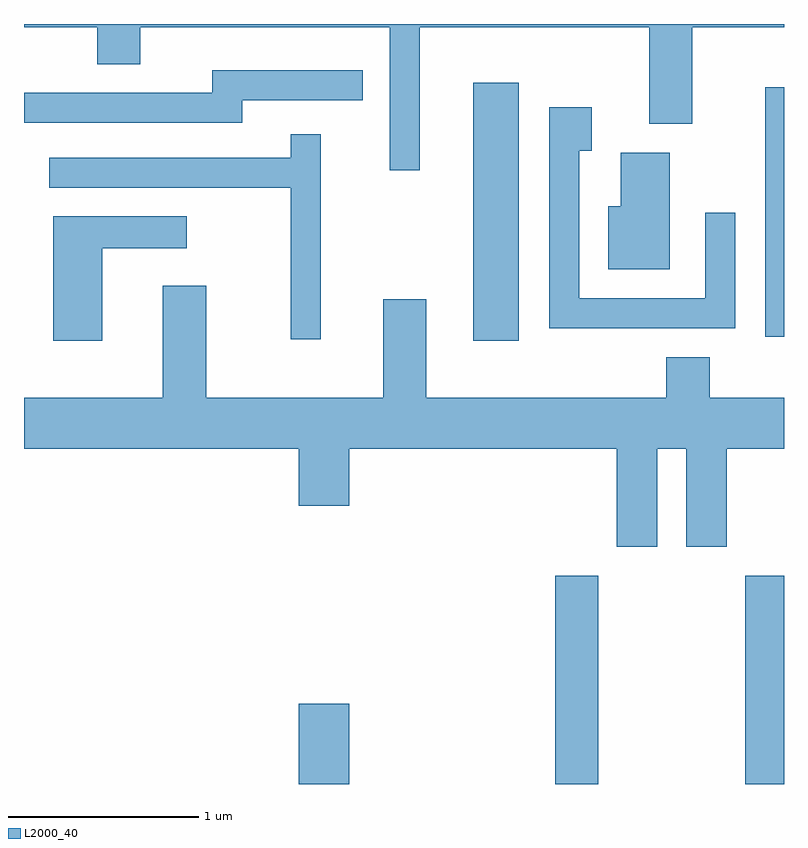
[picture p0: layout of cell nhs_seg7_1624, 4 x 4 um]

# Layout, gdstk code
import gdstk
lib = gdstk.Library(unit=1e-6, precision=1e-09)
def R(c, l, rs):  # rectangles x0, y0, x1, y1
    for r in rs: c.add(gdstk.rectangle(r[:2], r[2:], *l))
def P(c, l, *ps):  # polygons
    for p in ps: c.add(gdstk.Polygon(p, *l))
L2000_40 = (2000, 40)

nhs_seg7_1624 = lib.new_cell('nhs_seg7_1624')
R(nhs_seg7_1624, L2000_40, [(235.056,1790.252,235.324,1790.674), (236.406,1790.252,236.634,1791.349), (237.406,1790.252,237.611,1791.349), (235.976,1792.586,236.214,1793.944), (237.511,1792.606,237.611,1793.919)])
P(nhs_seg7_1624, L2000_40, [(235.694,1794.236),(236.901,1794.236),(236.901,1793.726),(237.129,1793.726),(237.129,1794.236),(237.611,1794.236),(237.611,1794.252),(233.611,1794.252),(233.611,1794.236),(233.996,1794.236),(233.996,1794.041),(234.224,1794.041),(234.224,1794.236),(235.536,1794.236),(235.536,1793.483),(235.694,1793.483)],
  [(234.759,1793.851),(235.393,1793.851),(235.393,1794.009),(234.601,1794.009),(234.601,1793.889),(233.611,1793.889),(233.611,1793.731),(234.759,1793.731)],
  [(237.354,1793.258),(237.196,1793.258),(237.196,1792.809),(236.534,1792.809),(236.534,1793.586),(236.599,1793.586),(236.599,1793.814),(236.376,1793.814),(236.376,1792.651),(237.354,1792.651)],
  [(235.174,1793.673),(235.016,1793.673),(235.016,1793.549),(233.743,1793.549),(233.743,1793.391),(235.016,1793.391),(235.016,1792.593),(235.174,1792.593)],
  [(237.009,1793.574),(236.751,1793.574),(236.751,1793.294),(236.686,1793.294),(236.686,1792.961),(237.009,1792.961)],
  [(234.024,1793.071),(234.468,1793.071),(234.468,1793.239),(233.766,1793.239),(233.766,1792.586),(234.024,1792.586)],
  [(236.944,1792.016),(237.096,1792.016),(237.096,1791.501),(237.309,1791.501),(237.309,1792.016),(237.611,1792.016),(237.611,1792.284),(237.219,1792.284),(237.219,1792.499),(236.991,1792.499),(236.991,1792.284),(235.729,1792.284),(235.729,1792.804),(235.501,1792.804),(235.501,1792.284),(234.569,1792.284),(234.569,1792.874),(234.341,1792.874),(234.341,1792.284),(233.611,1792.284),(233.611,1792.016),(235.056,1792.016),(235.056,1791.716),(235.324,1791.716),(235.324,1792.016),(236.731,1792.016),(236.731,1791.501),(236.944,1791.501)])

lib.write_gds('nhs_seg7_1624.gds')
